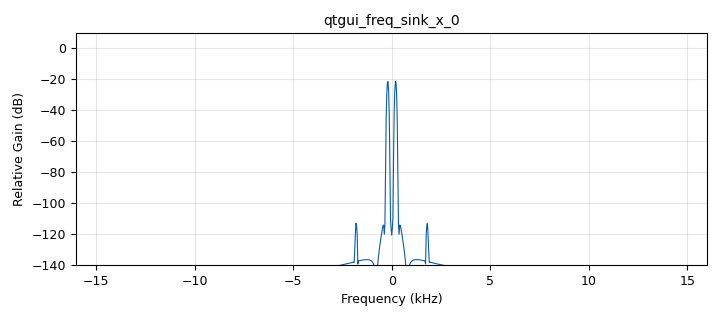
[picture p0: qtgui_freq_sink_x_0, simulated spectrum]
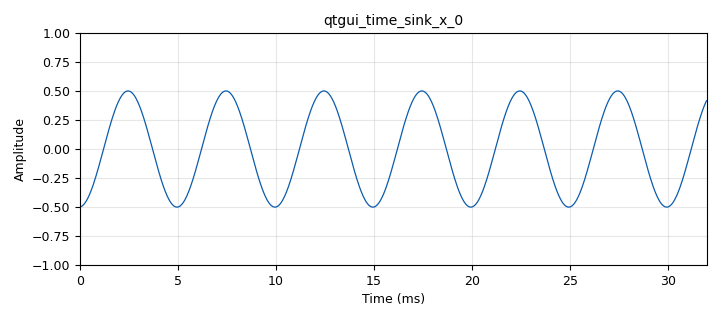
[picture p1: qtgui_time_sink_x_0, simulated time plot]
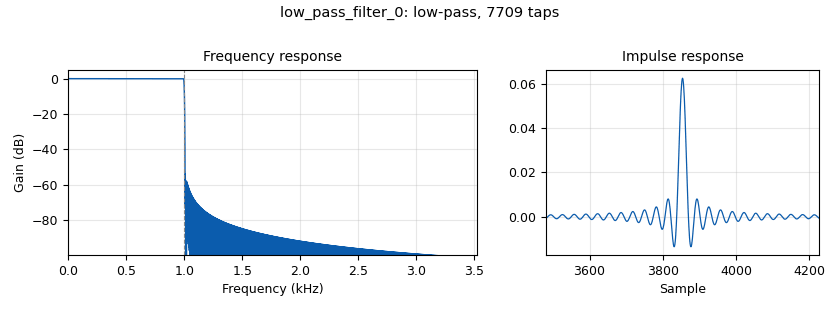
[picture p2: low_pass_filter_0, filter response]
options:
  parameters:
    author: Studente
    generate_options: qt_gui
    id: part_c
    output_language: python
    title: Not titled yet
  states: {}

blocks:
- name: samp_rate
  id: variable
  parameters:
    value: '32000'
  states: {}
- name: analog_sig_source_x_0
  id: analog_sig_source_x
  parameters:
    amp: '1'
    freq: '1000'
    offset: '0'
    phase: '0'
    samp_rate: samp_rate
    type: float
    waveform: analog.GR_SIN_WAVE
  states: {}
- name: analog_sig_source_x_0_0
  id: analog_sig_source_x
  parameters:
    amp: '1'
    freq: '800'
    offset: '0'
    phase: '0'
    samp_rate: samp_rate
    type: float
    waveform: analog.GR_SIN_WAVE
  states: {}
- name: audio_sink_0
  id: audio_sink
  parameters:
    samp_rate: samp_rate
  states: {}
- name: blocks_multiply_xx_0
  id: blocks_multiply_xx
  parameters:
    type: float
  states: {}
- name: blocks_throttle_0
  id: blocks_throttle
  parameters:
    samples_per_second: samp_rate
    type: float
  states: {}
- name: low_pass_filter_0
  id: low_pass_filter
  parameters:
    cutoff_freq: '1000'
    decim: '1'
    gain: '1'
    samp_rate: samp_rate
    type: fir_filter_fff
    width: '10'
    win: window.WIN_HAMMING
  states: {}
- name: qtgui_freq_sink_x_0
  id: qtgui_freq_sink_x
  parameters:
    bw: samp_rate
    fc: '0'
    fftsize: '1024'
    type: float
  states: {}
- name: qtgui_time_sink_x_0
  id: qtgui_time_sink_x
  parameters:
    size: '1024'
    srate: samp_rate
    type: float
  states: {}

connections:
- [analog_sig_source_x_0, '0', blocks_multiply_xx_0, '0']
- [analog_sig_source_x_0_0, '0', blocks_multiply_xx_0, '1']
- [blocks_multiply_xx_0, '0', low_pass_filter_0, '0']
- [blocks_throttle_0, '0', audio_sink_0, '0']
- [blocks_throttle_0, '0', qtgui_freq_sink_x_0, '0']
- [blocks_throttle_0, '0', qtgui_time_sink_x_0, '0']
- [low_pass_filter_0, '0', blocks_throttle_0, '0']

metadata:
  file_format: 1
  grc_version: 3.10.7.0
